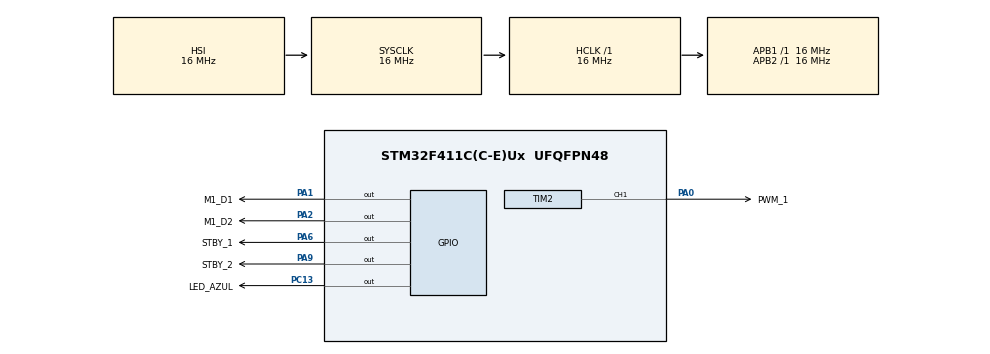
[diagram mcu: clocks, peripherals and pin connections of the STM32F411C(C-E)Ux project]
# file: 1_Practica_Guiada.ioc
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Mcu.Family=STM32F4
Mcu.Name=STM32F411C(C-E)Ux
Mcu.Package=UFQFPN48
NVIC.PriorityGroup=NVIC_PRIORITYGROUP_4
PA0-WKUP.GPIO_Label=PWM_1
PA0-WKUP.Signal=S_TIM2_CH1_ETR
PA1.GPIO_Label=M1_D1
PA1.Signal=GPIO_Output
PA2.GPIO_Label=M1_D2
PA2.Signal=GPIO_Output
PA6.GPIO_Label=STBY_1
PA6.Signal=GPIO_Output
PA9.GPIO_Label=STBY_2
PA9.Signal=GPIO_Output
PC13-ANTI_TAMP.GPIO_Label=LED_AZUL
PC13-ANTI_TAMP.Signal=GPIO_Output
ProjectManager.HeapSize=0x200
ProjectManager.StackSize=0x400
ProjectManager.TargetToolchain=STM32CubeIDE
RCC.AHBFreq_Value=16000000
RCC.APB1Freq_Value=16000000
RCC.APB2Freq_Value=16000000
RCC.CortexFreq_Value=16000000
RCC.HSE_VALUE=25000000
RCC.HSI_VALUE=16000000
RCC.LSE_VALUE=32768
RCC.SYSCLKFreq_VALUE=16000000
RCC.VCOOutputFreq_Value=192000000
SH.S_TIM2_CH1_ETR.0=TIM2_CH1,PWM Generation1 CH1
TIM2.AutoReloadPreload=TIM_AUTORELOAD_PRELOAD_ENABLE
TIM2.Channel-PWM\ Generation1\ CH1=TIM_CHANNEL_1
TIM2.Period=499
TIM2.Prescaler=9
board=custom

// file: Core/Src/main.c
/* USER CODE BEGIN Header */
/**
  ******************************************************************************
  * @file           : Practica_Guiada_1.c
  * @brief          : Programa para mover un motor adelante y atrás
  ******************************************************************************
  * @author: Abraham Pablo
  *
  * Copyright (c) 2026 STMicroelectronics.
  * All rights reserved.
  *
  * This software is licensed under terms that can be found in the LICENSE file
  * in the root directory of this software component.
  * If no LICENSE file comes with this software, it is provided AS-IS.
  *
  ******************************************************************************
  */
/* USER CODE END Header */
#include "main.h"

TIM_HandleTypeDef htim2;

void SystemClock_Config(void);
static void MX_GPIO_Init(void);
static void MX_TIM2_Init(void);

int main(void)
{

  /* MCU Configuration--------------------------------------------------------*/

  /* Reset of all peripherals, Initializes the Flash interface and the Systick. */
  HAL_Init();

  /* USER CODE BEGIN Init */
  // Inicializamos el canal 1 del timer 2
  HAL_TIM_PWM_Start(&htim2, TIM_CHANNEL_1);
  // Acticamos el standby del puente H
  HAL_GPIO_WritePin(STBY_1_GPIO_Port, STBY_1_Pin, GPIO_PIN_SET);
  /* USER CODE END Init */

  /* Configure the system clock */
  SystemClock_Config();

  /* Initialize all configured peripherals */
  MX_GPIO_Init();
  MX_TIM2_Init();
  /* USER CODE BEGIN 2 */
  // Led para indicar que funciona la STM
   HAL_GPIO_TogglePin(LED_AZUL_GPIO_Port, LED_AZUL_Pin);
   HAL_Delay(200);

   HAL_GPIO_WritePin(GPIOA, GPIO_PIN_1, GPIO_PIN_SET);   // PA1 = HIGH (test GPIO)
   HAL_Delay(500);
  /* USER CODE END 2 */

  /* Infinite loop */
  /* USER CODE BEGIN WHILE */
  while (1)
  {
	  ///////////////////////////////////////////////////////////////
	  /// GIRO INICIAL
	  HAL_GPIO_WritePin(GPIOA, GPIO_PIN_1, GPIO_PIN_SET);   // ain1
	  HAL_GPIO_WritePin(GPIOA, GPIO_PIN_2, GPIO_PIN_RESET); // AIN2
	  __HAL_TIM_SET_COMPARE(&htim2, TIM_CHANNEL_1, 200); //

	  // Cambiar el estado del LED
	  HAL_GPIO_TogglePin(LED_AZUL_GPIO_Port, LED_AZUL_Pin);
	  HAL_Delay(2000);
	  ///////////////////////////////////////////////////////////////

	  ///////////////////////////////////////////////////////////////
	  //// GIRO A LA INVERSA
	  HAL_GPIO_WritePin(GPIOA, GPIO_PIN_1, GPIO_PIN_RESET);
	  HAL_GPIO_WritePin(GPIOA, GPIO_PIN_2, GPIO_PIN_SET); // AIN2
	  __HAL_TIM_SET_COMPARE(&htim2, TIM_CHANNEL_1, 200); //
	  // Cambiar el estado del LED
	  HAL_GPIO_TogglePin(LED_AZUL_GPIO_Port, LED_AZUL_Pin);
	  HAL_Delay(2000);
	  ///////////////////////////////////////////////////////////////
    /* USER CODE END WHILE */

  }
}

void SystemClock_Config(void)
{
  RCC_OscInitTypeDef RCC_OscInitStruct = {0};
  RCC_ClkInitTypeDef RCC_ClkInitStruct = {0};

  /** Configure the main internal regulator output voltage
  */
  __HAL_RCC_PWR_CLK_ENABLE();
  __HAL_PWR_VOLTAGESCALING_CONFIG(PWR_REGULATOR_VOLTAGE_SCALE1);

  /** Initializes the RCC Oscillators according to the specified parameters
  * in the RCC_OscInitTypeDef structure.
  */
  RCC_OscInitStruct.OscillatorType = RCC_OSCILLATORTYPE_HSI;
  RCC_OscInitStruct.HSIState = RCC_HSI_ON;
  RCC_OscInitStruct.HSICalibrationValue = RCC_HSICALIBRATION_DEFAULT;
  RCC_OscInitStruct.PLL.PLLState = RCC_PLL_NONE;
  if (HAL_RCC_OscConfig(&RCC_OscInitStruct) != HAL_OK)
  {
    Error_Handler();
  }

  /** Initializes the CPU, AHB and APB buses clocks
  */
  RCC_ClkInitStruct.ClockType = RCC_CLOCKTYPE_HCLK|RCC_CLOCKTYPE_SYSCLK
                              |RCC_CLOCKTYPE_PCLK1|RCC_CLOCKTYPE_PCLK2;
  RCC_ClkInitStruct.SYSCLKSource = RCC_SYSCLKSOURCE_HSI;
  RCC_ClkInitStruct.AHBCLKDivider = RCC_SYSCLK_DIV1;
  RCC_ClkInitStruct.APB1CLKDivider = RCC_HCLK_DIV1;
  RCC_ClkInitStruct.APB2CLKDivider = RCC_HCLK_DIV1;

  if (HAL_RCC_ClockConfig(&RCC_ClkInitStruct, FLASH_LATENCY_0) != HAL_OK)
  {
    Error_Handler();
  }
}

static void MX_TIM2_Init(void)
{

  TIM_MasterConfigTypeDef sMasterConfig = {0};
  TIM_OC_InitTypeDef sConfigOC = {0};

  htim2.Instance = TIM2;
  htim2.Init.Prescaler = 9;
  htim2.Init.CounterMode = TIM_COUNTERMODE_UP;
  htim2.Init.Period = 499;
  htim2.Init.ClockDivision = TIM_CLOCKDIVISION_DIV1;
  htim2.Init.AutoReloadPreload = TIM_AUTORELOAD_PRELOAD_ENABLE;
  if (HAL_TIM_PWM_Init(&htim2) != HAL_OK)
  {
    Error_Handler();
  }
  sMasterConfig.MasterOutputTrigger = TIM_TRGO_RESET;
  sMasterConfig.MasterSlaveMode = TIM_MASTERSLAVEMODE_DISABLE;
  if (HAL_TIMEx_MasterConfigSynchronization(&htim2, &sMasterConfig) != HAL_OK)
  {
    Error_Handler();
  }
  sConfigOC.OCMode = TIM_OCMODE_PWM1;
  sConfigOC.Pulse = 0;
  sConfigOC.OCPolarity = TIM_OCPOLARITY_HIGH;
  sConfigOC.OCFastMode = TIM_OCFAST_DISABLE;
  if (HAL_TIM_PWM_ConfigChannel(&htim2, &sConfigOC, TIM_CHANNEL_1) != HAL_OK)
  {
    Error_Handler();
  }
  HAL_TIM_MspPostInit(&htim2);

}

static void MX_GPIO_Init(void)
{
  GPIO_InitTypeDef GPIO_InitStruct = {0};

  /* GPIO Ports Clock Enable */
  __HAL_RCC_GPIOC_CLK_ENABLE();
  __HAL_RCC_GPIOA_CLK_ENABLE();

  /*Configure GPIO pin Output Level */
  HAL_GPIO_WritePin(LED_AZUL_GPIO_Port, LED_AZUL_Pin, GPIO_PIN_RESET);

  /*Configure GPIO pin Output Level */
  HAL_GPIO_WritePin(GPIOA, M1_D1_Pin|M1_D2_Pin|STBY_1_Pin|STBY_2_Pin, GPIO_PIN_RESET);

  /*Configure GPIO pin : LED_AZUL_Pin */
  GPIO_InitStruct.Pin = LED_AZUL_Pin;
  GPIO_InitStruct.Mode = GPIO_MODE_OUTPUT_PP;
  GPIO_InitStruct.Pull = GPIO_NOPULL;
  GPIO_InitStruct.Speed = GPIO_SPEED_FREQ_LOW;
  HAL_GPIO_Init(LED_AZUL_GPIO_Port, &GPIO_InitStruct);

  /*Configure GPIO pins : M1_D1_Pin M1_D2_Pin STBY_1_Pin STBY_2_Pin */
  GPIO_InitStruct.Pin = M1_D1_Pin|M1_D2_Pin|STBY_1_Pin|STBY_2_Pin;
  GPIO_InitStruct.Mode = GPIO_MODE_OUTPUT_PP;
  GPIO_InitStruct.Pull = GPIO_NOPULL;
  GPIO_InitStruct.Speed = GPIO_SPEED_FREQ_LOW;
  HAL_GPIO_Init(GPIOA, &GPIO_InitStruct);

}

void Error_Handler(void)
{
  __disable_irq();
  while (1)
  {
  }
}
